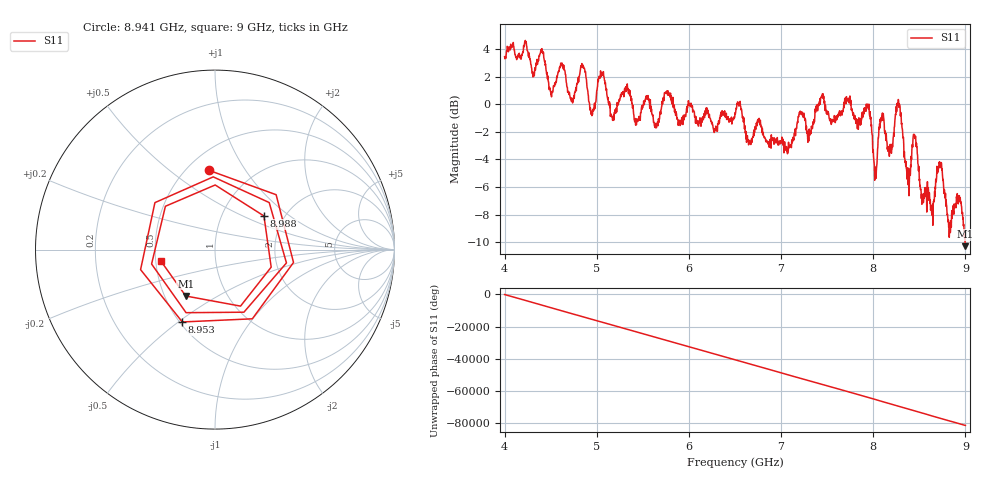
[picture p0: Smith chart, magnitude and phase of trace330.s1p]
! Created with skrf 1.8.0 (http://scikit-rf.org).
# Hz S RI R 50.0
!freq ReS11 ImS11
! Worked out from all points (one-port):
!   1601 points, 4 GHz to 9 GHz, reference 50 ohm
!   lowest |S11| = -10.3 dB at 8.997 GHz (marker M1), VSWR 1.88, Z = 31.9 - j18.2 ohm
!   |S11| at or under -10 dB: 8.996163 GHz to end of sweep
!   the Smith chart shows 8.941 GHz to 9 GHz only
!   S11 on the Smith chart (normalised r, x): 8.941 GHz: 0.64, +0.70; 8.953 GHz: 0.52, -0.52; 8.988 GHz: 1.58, +0.66; 9 GHz: 0.53, -0.07
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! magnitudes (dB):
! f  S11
! 4 GHz  3.5
! 4.506 GHz  0.8
! 4.625 GHz  2.8
! 4.731 GHz  0.2
! 4.853 GHz  2.7
! 4.947 GHz  -0.8
! 5.047 GHz  2.0
! 5.25 GHz  0.4
! 5.875 GHz  -1.1
! 6.5 GHz  -0.6
! 7.125 GHz  -2.6
! 7.75 GHz  0.2
! 7.95 GHz  -0.3
! 8.022 GHz  -5.2
! 8.088 GHz  -1.1
! 8.184 GHz  -2.9
! 8.275 GHz  0.3
! 8.375 GHz  -4.6
! 8.45 GHz  -2.4
! 8.531 GHz  -7.0
! 8.644 GHz  -7.2
! 8.725 GHz  -4.6
! 8.825 GHz  -9.7
! 8.941 GHz  -7.1
! 8.953 GHz  -7.1
! 8.988 GHz  -9.6
! 8.997 GHz  -10.3
! 9 GHz  -10.2
